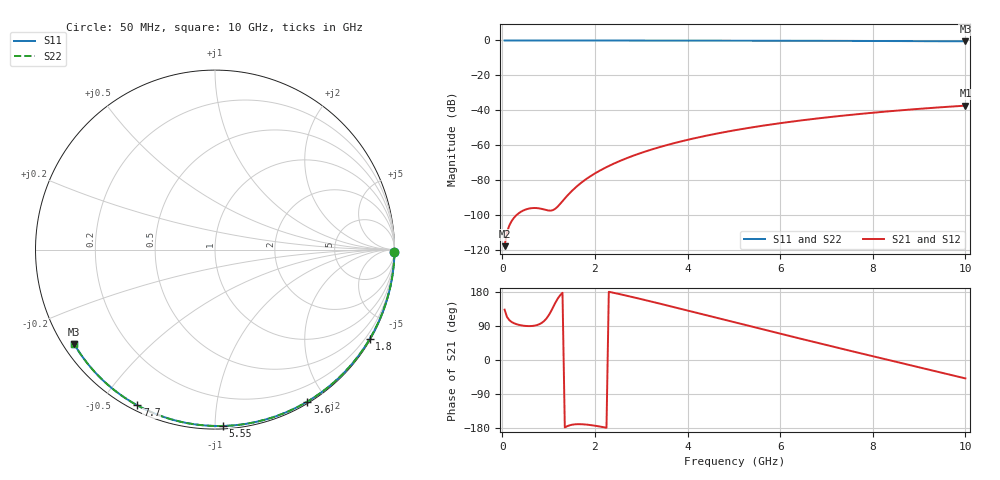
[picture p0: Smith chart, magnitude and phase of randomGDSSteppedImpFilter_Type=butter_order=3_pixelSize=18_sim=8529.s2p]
! freq	dB(S11)	phase(S11)	dB(S12)	phase(S12)
!  dB(S21)	phase(S21)	dB(S22)	phase(S22)
!S-par simulation data
#  GHz  S  DB  R 50
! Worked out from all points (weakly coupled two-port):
!   200 points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, 50 MHz to 10 GHz, reference 50 ohm
!   highest |S21| = -37.37 dB at 10 GHz (marker M1); lowest = -117.9 dB at 50 MHz (marker M2)
!   lowest |S11| = -0.5 dB at 10 GHz (marker M3), VSWR 35.10, Z = 1.56 - j15.2 ohm
!   |S11| at or under -10 dB: nowhere
!   |S22| runs from -0.5 to 0.0 dB; largest |S21 - S12| = 0
!   S11 on the Smith chart (normalised r, x): 50 MHz: open; 1.8 GHz: 0.03, -3.72; 3.6 GHz: 0.02, -1.78; 5.55 GHz: 0.02, -1.05; 7.7 GHz: 0.02, -0.62; 10 GHz: 0.03, -0.30
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0.05  -0.00 -0.9  -117.92 132.8  -117.92 132.8  -0.00 -0.9
0.45  -0.01 -7.6  -97.52 90.6  -97.52 90.6  -0.01 -7.6
0.9  -0.02 -15.2  -96.88 102.5  -96.88 102.5  -0.02 -15.2
1.3  -0.03 -21.9  -92.11 177.3  -92.11 177.3  -0.03 -21.9
1.75  -0.04 -29.3  -80.65 -169.7  -80.65 -169.7  -0.04 -29.3
1.8  -0.04 -30.1  -79.68 -170.2  -79.68 -170.2  -0.04 -30.1
1.95  -0.04 -32.6  -77.04 -172.4  -77.04 -172.4  -0.04 -32.6
2.1  -0.04 -35.0  -74.71 -175.4  -74.71 -175.4  -0.04 -35.0
2.3  -0.05 -38.2  -71.95 180.0  -71.95 180.0  -0.05 -38.2
2.5  -0.05 -41.4  -69.52 174.8  -69.52 174.8  -0.05 -41.4
2.9  -0.06 -47.8  -65.36 163.5  -65.36 163.5  -0.06 -47.8
3.4  -0.07 -55.6  -61.12 148.8  -61.12 148.8  -0.07 -55.6
3.6  -0.08 -58.7  -59.64 142.7  -59.64 142.7  -0.08 -58.7
4.3  -0.10 -69.3  -55.18 121.4  -55.18 121.4  -0.10 -69.3
5.05  -0.12 -80.3  -51.34 98.5  -51.34 98.5  -0.12 -80.3
5.55  -0.14 -87.4  -49.16 83.2  -49.16 83.2  -0.14 -87.4
6.1  -0.17 -95.0  -47.06 66.5  -47.06 66.5  -0.17 -95.0
6.7  -0.20 -103.2  -45.04 48.5  -45.04 48.5  -0.20 -103.2
7.7  -0.27 -116.5  -42.19 18.8  -42.19 18.8  -0.27 -116.5
8.35  -0.32 -124.9  -40.61 -0.3  -40.61 -0.3  -0.32 -124.9
9.2  -0.40 -135.8  -38.80 -25.1  -38.80 -25.1  -0.40 -135.9
10  -0.50 -146.1  -37.37 -48.6  -37.37 -48.6  -0.50 -146.1
